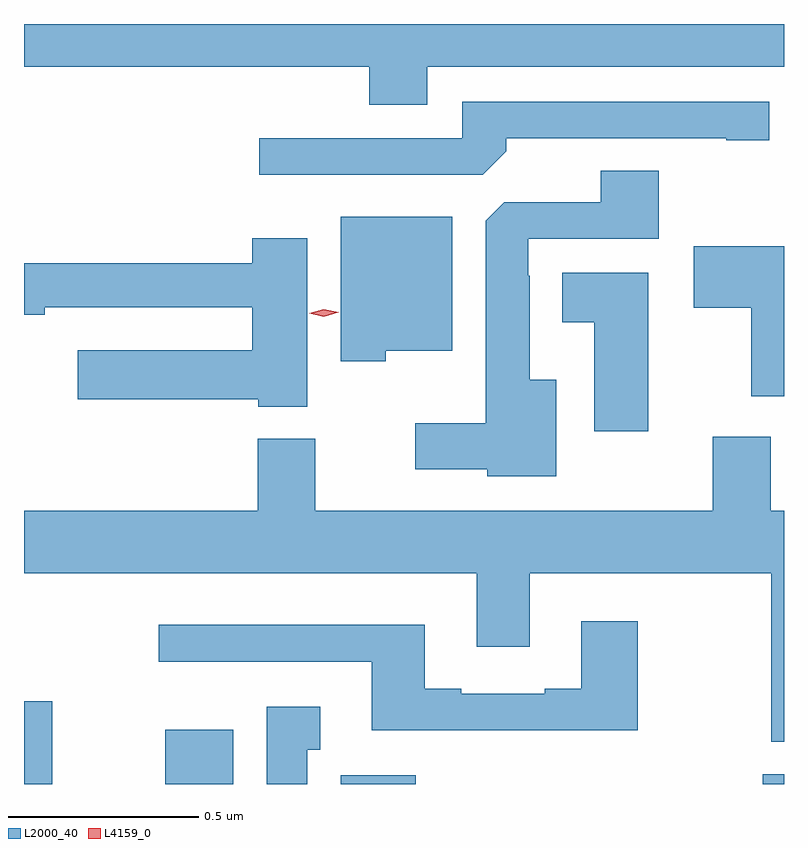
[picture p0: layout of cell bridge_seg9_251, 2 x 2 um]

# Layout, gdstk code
import gdstk
lib = gdstk.Library(unit=1e-6, precision=1e-09)
def R(c, l, rs):  # rectangles x0, y0, x1, y1
    for r in rs: c.add(gdstk.rectangle(r[:2], r[2:], *l))
def P(c, l, *ps):  # polygons
    for p in ps: c.add(gdstk.Polygon(p, *l))
L2000_40 = (2000, 40)
L4159_0 = (4159, 0)

bridge_seg9_251 = lib.new_cell('bridge_seg9_251')
R(bridge_seg9_251, L2000_40, [(279.08,1198.529,279.154,1198.747), (279.452,1198.529,279.631,1198.672), (279.914,1198.529,280.111,1198.552), (281.024,1198.529,281.08,1198.555)])
P(bridge_seg9_251, L2000_40, [(280.141,1200.416),(281.08,1200.416),(281.08,1200.529),(279.08,1200.529),(279.08,1200.416),(279.989,1200.416),(279.989,1200.317),(280.141,1200.317)],
  [(280.349,1200.194),(280.349,1200.228),(280.928,1200.228),(280.928,1200.223),(281.041,1200.223),(281.041,1200.324),(280.233,1200.324),(280.233,1200.228),(279.699,1200.228),(279.699,1200.132),(280.287,1200.132)],
  [(280.48,1199.593),(280.411,1199.593),(280.411,1199.867),(280.407,1199.867),(280.407,1199.964),(280.751,1199.964),(280.751,1200.143),(280.598,1200.143),(280.598,1200.06),(280.344,1200.06),(280.295,1200.011),(280.295,1199.479),(280.11,1199.479),(280.11,1199.357),(280.299,1199.357),(280.299,1199.339),(280.48,1199.339)],
  [(280.032,1199.669),(280.207,1199.669),(280.207,1200.022),(279.914,1200.022),(279.914,1199.642),(280.032,1199.642)],
  [(279.826,1199.965),(279.68,1199.965),(279.68,1199.9),(279.08,1199.9),(279.08,1199.764),(279.134,1199.764),(279.134,1199.784),(279.68,1199.784),(279.68,1199.671),(279.222,1199.671),(279.222,1199.542),(279.696,1199.542),(279.696,1199.522),(279.826,1199.522)],
  [(281.08,1199.944),(280.842,1199.944),(280.842,1199.782),(280.994,1199.782),(280.994,1199.549),(281.08,1199.549)],
  [(280.723,1199.875),(280.496,1199.875),(280.496,1199.744),(280.58,1199.744),(280.58,1199.457),(280.723,1199.457)],
  [(281.08,1199.248),(281.045,1199.248),(281.045,1199.443),(280.892,1199.443),(280.892,1199.248),(279.847,1199.248),(279.847,1199.437),(279.695,1199.437),(279.695,1199.248),(279.08,1199.248),(279.08,1199.084),(280.271,1199.084),(280.271,1198.89),(280.411,1198.89),(280.411,1199.084),(281.047,1199.084),(281.047,1198.64),(281.08,1198.64)],
  [(280.695,1198.957),(280.547,1198.957),(280.547,1198.78),(280.451,1198.78),(280.451,1198.767),(280.231,1198.767),(280.231,1198.78),(280.135,1198.78),(280.135,1198.948),(279.435,1198.948),(279.435,1198.851),(279.995,1198.851),(279.995,1198.67),(280.695,1198.67)],
  [(279.826,1198.619),(279.859,1198.619),(279.859,1198.732),(279.719,1198.732),(279.719,1198.529),(279.826,1198.529)])
P(bridge_seg9_251, L4159_0, [(279.869,1199.759),(279.831,1199.768),(279.83,1199.768),(279.831,1199.768),(279.869,1199.779),(279.908,1199.77),(279.908,1199.77),(279.908,1199.77)])

lib.write_gds('bridge_seg9_251.gds')
